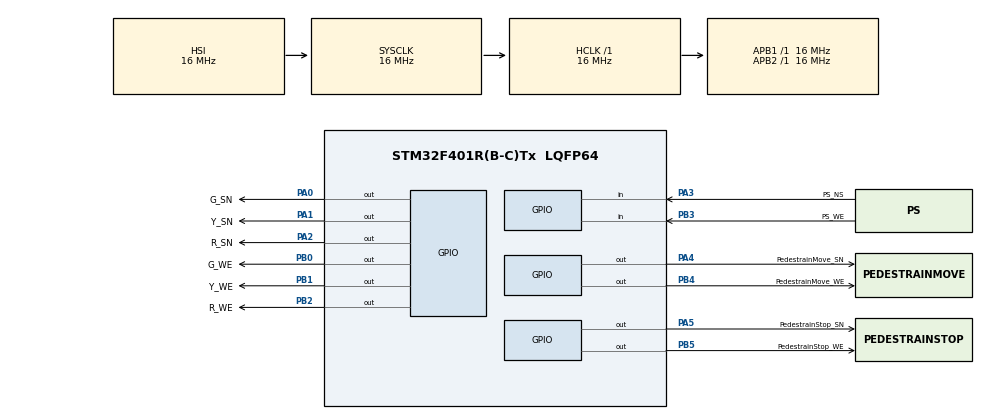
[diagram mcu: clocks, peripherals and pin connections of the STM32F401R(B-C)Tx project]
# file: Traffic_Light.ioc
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FREERTOS.BinarySemaphores01=PedestrainStatet,Dynamic,NULL,Available
FREERTOS.Queues01=SN_STATE,16,uint16_t,0,Dynamic,NULL,NULL;WE_STATE,16,uint16_t,0,Dynamic,NULL,NULL
FREERTOS.Tasks01=Traffic_control,24,128,Traffic_Light_Control,Default,NULL,Dynamic,NULL,NULL;SN_Crossing,40,128,SN_Crossing_Task,Default,NULL,Dynamic,NULL,NULL;interrupt,41,128,Button_Interrupt,Default,NULL,Dynamic,NULL,NULL;WE_Crossing,40,128,WE_Crossing_Task,Default,NULL,Dynamic,NULL,NULL
FREERTOS.configUSE_CO_ROUTINES=1
FREERTOS.configUSE_IDLE_HOOK=0
FREERTOS.configUSE_NEWLIB_REENTRANT=1
FREERTOS.configUSE_PREEMPTION=1
Mcu.Family=STM32F4
Mcu.Name=STM32F401R(B-C)Tx
Mcu.Package=LQFP64
NVIC.PriorityGroup=NVIC_PRIORITYGROUP_4
NVIC.TIM1_UP_TIM10_IRQn=true\:15\:0\:false\:false\:true\:false\:false\:true\:true
NVIC.TimeBase=TIM1_UP_TIM10_IRQn
NVIC.TimeBaseIP=TIM1
PA0-WKUP.GPIO_Label=G_SN
PA0-WKUP.GPIO_PuPd=GPIO_NOPULL
PA0-WKUP.Signal=GPIO_Output
PA1.GPIO_Label=Y_SN
PA1.GPIO_PuPd=GPIO_NOPULL
PA1.Signal=GPIO_Output
PA2.GPIO_Label=R_SN
PA2.GPIO_PuPd=GPIO_NOPULL
PA2.Signal=GPIO_Output
PA3.GPIO_Label=PS_NS
PA3.GPIO_PuPd=GPIO_PULLUP
PA3.Signal=GPIO_Input
PA4.GPIO_Label=PedestrainMove_SN
PA4.Signal=GPIO_Output
PA5.GPIO_Label=PedestrainStop_SN
PA5.Signal=GPIO_Output
PB0.GPIO_Label=G_WE
PB0.Signal=GPIO_Output
PB1.GPIO_Label=Y_WE
PB1.GPIO_PuPd=GPIO_NOPULL
PB1.Signal=GPIO_Output
PB2.GPIO_Label=R_WE
PB2.GPIO_PuPd=GPIO_NOPULL
PB2.Signal=GPIO_Output
PB3.GPIO_Label=PS_WE
PB3.GPIO_PuPd=GPIO_PULLUP
PB3.Signal=GPIO_Input
PB4.GPIO_Label=PedestrainMove_WE
PB4.Signal=GPIO_Output
PB5.GPIO_Label=PedestrainStop_WE
PB5.Signal=GPIO_Output
PH0\ -\ OSC_IN.Mode=HSE-External-Oscillator
PH0\ -\ OSC_IN.Signal=RCC_OSC_IN
PH1\ -\ OSC_OUT.Mode=HSE-External-Oscillator
PH1\ -\ OSC_OUT.Signal=RCC_OSC_OUT
ProjectManager.HeapSize=0x200
ProjectManager.StackSize=0x400
ProjectManager.TargetToolchain=STM32CubeIDE
RCC.AHBFreq_Value=16000000
RCC.APB1Freq_Value=16000000
RCC.APB2Freq_Value=16000000
RCC.CortexFreq_Value=16000000
RCC.HSE_VALUE=25000000
RCC.HSI_VALUE=16000000
RCC.LSE_VALUE=32768
RCC.SYSCLKFreq_VALUE=16000000
RCC.VCOOutputFreq_Value=192000000
VP_FREERTOS_VS_CMSIS_V2.Mode=CMSIS_V2
VP_SYS_VS_tim1.Mode=TIM1
board=custom

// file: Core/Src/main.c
/* USER CODE BEGIN Header */
/**
  ******************************************************************************
  * @file           : main.c
  * @brief          : Main program body
  ******************************************************************************
  * @attention
  *
  * Copyright (c) 2025 STMicroelectronics.
  * All rights reserved.
  *
  * This software is licensed under terms that can be found in the LICENSE file
  * in the root directory of this software component.
  * If no LICENSE file comes with this software, it is provided AS-IS.
  *
  ******************************************************************************
  */
/* USER CODE END Header */
#include "main.h"
#include "cmsis_os.h"

/* Definitions for Traffic_control */
osThreadId_t Traffic_controlHandle;
const osThreadAttr_t Traffic_control_attributes = {
  .name = "Traffic_control",
  .stack_size = 128 * 4,
  .priority = (osPriority_t) osPriorityNormal,
};
/* Definitions for SN_Crossing */
osThreadId_t SN_CrossingHandle;
const osThreadAttr_t SN_Crossing_attributes = {
  .name = "SN_Crossing",
  .stack_size = 128 * 4,
  .priority = (osPriority_t) osPriorityHigh,
};
/* Definitions for interrupt */
osThreadId_t interruptHandle;
const osThreadAttr_t interrupt_attributes = {
  .name = "interrupt",
  .stack_size = 128 * 4,
  .priority = (osPriority_t) osPriorityHigh1,
};
/* Definitions for WE_Crossing */
osThreadId_t WE_CrossingHandle;
const osThreadAttr_t WE_Crossing_attributes = {
  .name = "WE_Crossing",
  .stack_size = 128 * 4,
  .priority = (osPriority_t) osPriorityHigh,
};
/* Definitions for SN_STATE */
osMessageQueueId_t SN_STATEHandle;
const osMessageQueueAttr_t SN_STATE_attributes = {
  .name = "SN_STATE"
};
/* Definitions for WE_STATE */
osMessageQueueId_t WE_STATEHandle;
const osMessageQueueAttr_t WE_STATE_attributes = {
  .name = "WE_STATE"
};
/* Definitions for PedestrainStatet */
osSemaphoreId_t PedestrainStatetHandle;
const osSemaphoreAttr_t PedestrainStatet_attributes = {
  .name = "PedestrainStatet"
};

void SystemClock_Config(void);
static void MX_GPIO_Init(void);
void Traffic_Light_Control(void *argument);
void SN_Crossing_Task(void *argument);
void Button_Interrupt(void *argument);
void WE_Crossing_Task(void *argument);

int main(void)
{

  /* MCU Configuration--------------------------------------------------------*/

  /* Reset of all peripherals, Initializes the Flash interface and the Systick. */
  HAL_Init();

  /* Configure the system clock */
  SystemClock_Config();

  /* Initialize all configured peripherals */
  MX_GPIO_Init();

  /* Init scheduler */
  osKernelInitialize();

  /* Create the semaphores(s) */
  /* creation of PedestrainStatet */
  PedestrainStatetHandle = osSemaphoreNew(1, 1, &PedestrainStatet_attributes);

  /* Create the queue(s) */
  /* creation of SN_STATE */
  SN_STATEHandle = osMessageQueueNew (16, sizeof(uint16_t), &SN_STATE_attributes);

  /* creation of WE_STATE */
  WE_STATEHandle = osMessageQueueNew (16, sizeof(uint16_t), &WE_STATE_attributes);

  /* Create the thread(s) */
  /* creation of Traffic_control */
  Traffic_controlHandle = osThreadNew(Traffic_Light_Control, NULL, &Traffic_control_attributes);

  /* creation of SN_Crossing */
  SN_CrossingHandle = osThreadNew(SN_Crossing_Task, NULL, &SN_Crossing_attributes);

  /* creation of interrupt */
  interruptHandle = osThreadNew(Button_Interrupt, NULL, &interrupt_attributes);

  /* creation of WE_Crossing */
  WE_CrossingHandle = osThreadNew(WE_Crossing_Task, NULL, &WE_Crossing_attributes);

  /* Start scheduler */
  osKernelStart();

  /* We should never get here as control is now taken by the scheduler */

  /* Infinite loop */
  while (1)
  {

  }
}

void SystemClock_Config(void)
{
  RCC_OscInitTypeDef RCC_OscInitStruct = {0};
  RCC_ClkInitTypeDef RCC_ClkInitStruct = {0};

  /** Configure the main internal regulator output voltage
  */
  __HAL_RCC_PWR_CLK_ENABLE();
  __HAL_PWR_VOLTAGESCALING_CONFIG(PWR_REGULATOR_VOLTAGE_SCALE2);

  /** Initializes the RCC Oscillators according to the specified parameters
  * in the RCC_OscInitTypeDef structure.
  */
  RCC_OscInitStruct.OscillatorType = RCC_OSCILLATORTYPE_HSI;
  RCC_OscInitStruct.HSIState = RCC_HSI_ON;
  RCC_OscInitStruct.HSICalibrationValue = RCC_HSICALIBRATION_DEFAULT;
  RCC_OscInitStruct.PLL.PLLState = RCC_PLL_NONE;
  if (HAL_RCC_OscConfig(&RCC_OscInitStruct) != HAL_OK)
  {
    Error_Handler();
  }

  /** Initializes the CPU, AHB and APB buses clocks
  */
  RCC_ClkInitStruct.ClockType = RCC_CLOCKTYPE_HCLK|RCC_CLOCKTYPE_SYSCLK
                              |RCC_CLOCKTYPE_PCLK1|RCC_CLOCKTYPE_PCLK2;
  RCC_ClkInitStruct.SYSCLKSource = RCC_SYSCLKSOURCE_HSI;
  RCC_ClkInitStruct.AHBCLKDivider = RCC_SYSCLK_DIV1;
  RCC_ClkInitStruct.APB1CLKDivider = RCC_HCLK_DIV1;
  RCC_ClkInitStruct.APB2CLKDivider = RCC_HCLK_DIV1;

  if (HAL_RCC_ClockConfig(&RCC_ClkInitStruct, FLASH_LATENCY_0) != HAL_OK)
  {
    Error_Handler();
  }
}

static void MX_GPIO_Init(void)
{
  GPIO_InitTypeDef GPIO_InitStruct = {0};

  /* GPIO Ports Clock Enable */
  __HAL_RCC_GPIOH_CLK_ENABLE();
  __HAL_RCC_GPIOA_CLK_ENABLE();
  __HAL_RCC_GPIOB_CLK_ENABLE();

  /*Configure GPIO pin Output Level */
  HAL_GPIO_WritePin(GPIOA, G_SN_Pin|Y_SN_Pin|R_SN_Pin|PedestrainMove_SN_Pin
                          |PedestrainStop_SN_Pin, GPIO_PIN_RESET);

  /*Configure GPIO pin Output Level */
  HAL_GPIO_WritePin(GPIOB, G_WE_Pin|Y_WE_Pin|R_WE_Pin|PedestrainMove_WE_Pin
                          |PedestrainStop_WE_Pin, GPIO_PIN_RESET);

  /*Configure GPIO pins : G_SN_Pin Y_SN_Pin R_SN_Pin PedestrainMove_SN_Pin
                           PedestrainStop_SN_Pin */
  GPIO_InitStruct.Pin = G_SN_Pin|Y_SN_Pin|R_SN_Pin|PedestrainMove_SN_Pin
                          |PedestrainStop_SN_Pin;
  GPIO_InitStruct.Mode = GPIO_MODE_OUTPUT_PP;
  GPIO_InitStruct.Pull = GPIO_NOPULL;
  GPIO_InitStruct.Speed = GPIO_SPEED_FREQ_LOW;
  HAL_GPIO_Init(GPIOA, &GPIO_InitStruct);

  /*Configure GPIO pin : PS_NS_Pin */
  GPIO_InitStruct.Pin = PS_NS_Pin;
  GPIO_InitStruct.Mode = GPIO_MODE_INPUT;
  GPIO_InitStruct.Pull = GPIO_PULLUP;
  HAL_GPIO_Init(PS_NS_GPIO_Port, &GPIO_InitStruct);

  /*Configure GPIO pins : G_WE_Pin Y_WE_Pin R_WE_Pin PedestrainMove_WE_Pin
                           PedestrainStop_WE_Pin */
  GPIO_InitStruct.Pin = G_WE_Pin|Y_WE_Pin|R_WE_Pin|PedestrainMove_WE_Pin
                          |PedestrainStop_WE_Pin;
  GPIO_InitStruct.Mode = GPIO_MODE_OUTPUT_PP;
  GPIO_InitStruct.Pull = GPIO_NOPULL;
  GPIO_InitStruct.Speed = GPIO_SPEED_FREQ_LOW;
  HAL_GPIO_Init(GPIOB, &GPIO_InitStruct);

  /*Configure GPIO pin : PS_WE_Pin */
  GPIO_InitStruct.Pin = PS_WE_Pin;
  GPIO_InitStruct.Mode = GPIO_MODE_INPUT;
  GPIO_InitStruct.Pull = GPIO_PULLUP;
  HAL_GPIO_Init(PS_WE_GPIO_Port, &GPIO_InitStruct);

}

void Traffic_Light_Control(void *argument)
{
  /* USER CODE BEGIN 5 */
  /* Infinite loop */
  for(;;)
  {
	  if (osSemaphoreAcquire(PedestrainStatetHandle, osWaitForever) == osOK)
	     {
	       /* North-South Green, West-East Red */
	       HAL_GPIO_WritePin(PedestrainStop_SN_GPIO_Port, PedestrainStop_SN_Pin, GPIO_PIN_SET);
	 	   HAL_GPIO_WritePin(PedestrainStop_WE_GPIO_Port, PedestrainStop_SN_Pin, GPIO_PIN_SET);

	       HAL_GPIO_WritePin(GPIOA, G_SN_Pin, GPIO_PIN_SET);
	       HAL_GPIO_WritePin(GPIOA, Y_SN_Pin, GPIO_PIN_RESET);
	       HAL_GPIO_WritePin(GPIOA, R_SN_Pin, GPIO_PIN_RESET);
	       HAL_GPIO_WritePin(GPIOB, R_WE_Pin, GPIO_PIN_SET);
	       HAL_GPIO_WritePin(GPIOB, G_WE_Pin, GPIO_PIN_RESET);
	       HAL_GPIO_WritePin(GPIOB, Y_WE_Pin, GPIO_PIN_RESET);
	       osDelay(GREEN_LED_ON);

	       /* North-South Yellow, West-East Red */
	       HAL_GPIO_WritePin(GPIOA, G_SN_Pin, GPIO_PIN_RESET);
	       HAL_GPIO_WritePin(GPIOA, Y_SN_Pin, GPIO_PIN_SET);
	       HAL_GPIO_WritePin(GPIOA, R_SN_Pin, GPIO_PIN_RESET);
	       osDelay(YELLOW_LED_ON);

	       /* North-South Red, West-East Green */
	       HAL_GPIO_WritePin(GPIOA, R_SN_Pin, GPIO_PIN_SET);
	       HAL_GPIO_WritePin(GPIOA, G_SN_Pin, GPIO_PIN_RESET);
	       HAL_GPIO_WritePin(GPIOA, Y_SN_Pin, GPIO_PIN_RESET);
	       HAL_GPIO_WritePin(GPIOB, G_WE_Pin, GPIO_PIN_SET);
	       HAL_GPIO_WritePin(GPIOB, Y_WE_Pin, GPIO_PIN_RESET);
	       HAL_GPIO_WritePin(GPIOB, R_WE_Pin, GPIO_PIN_RESET);
	       osDelay(GREEN_LED_ON);

	       /* North-South Red, West-East Yellow */
	       HAL_GPIO_WritePin(GPIOB, G_WE_Pin, GPIO_PIN_RESET);
	       HAL_GPIO_WritePin(GPIOB, Y_WE_Pin, GPIO_PIN_SET);
	       HAL_GPIO_WritePin(GPIOB, R_WE_Pin, GPIO_PIN_RESET);
	       osDelay(YELLOW_LED_ON);

	       osSemaphoreRelease(PedestrainStatetHandle);
	     }
  }
  /* USER CODE END 5 */
}

void SN_Crossing_Task(void *argument)
{
  /* USER CODE BEGIN SN_Crossing_Task */
  /* Infinite loop */
	uint16_t msg=0;
  for(;;)
  {
	  if(osMessageQueueGet(SN_STATEHandle, &msg, 0,osWaitForever)==osOK)
	  {
		  if (msg == S_N)
			  {
				/* North-South pedestrian crossing */
				osThreadSuspend(Traffic_controlHandle);

				HAL_GPIO_WritePin(GPIOA, R_SN_Pin, GPIO_PIN_SET);
				HAL_GPIO_WritePin(GPIOA, G_SN_Pin, GPIO_PIN_RESET);
				HAL_GPIO_WritePin(GPIOA, Y_SN_Pin, GPIO_PIN_RESET);

				//Active move led for pedestrain for 5 second then start flashing
				HAL_GPIO_WritePin(PedestrainStop_SN_GPIO_Port, PedestrainStop_SN_Pin, GPIO_PIN_RESET);
				HAL_GPIO_WritePin(PedestrainMove_SN_GPIO_Port, PedestrainMove_SN_Pin, GPIO_PIN_SET);
				osDelay(PedestrainMove_LED_ON);
				HAL_GPIO_WritePin(PedestrainMove_SN_GPIO_Port, PedestrainMove_SN_Pin, GPIO_PIN_RESET);
				osDelay(PedestrainMove_LED_Flashing);
				HAL_GPIO_WritePin(PedestrainMove_SN_GPIO_Port, PedestrainMove_SN_Pin, GPIO_PIN_SET);
				osDelay(PedestrainMove_LED_Flashing);
				HAL_GPIO_WritePin(PedestrainMove_SN_GPIO_Port, PedestrainMove_SN_Pin, GPIO_PIN_RESET);
				osDelay(PedestrainMove_LED_Flashing);
				HAL_GPIO_WritePin(PedestrainMove_SN_GPIO_Port, PedestrainMove_SN_Pin, GPIO_PIN_SET);
				osDelay(PedestrainMove_LED_Flashing);
				HAL_GPIO_WritePin(PedestrainMove_SN_GPIO_Port, PedestrainMove_SN_Pin, GPIO_PIN_RESET);
				osDelay(PedestrainMove_LED_Flashing);

				//return state of pedestrain Leds to original state
				HAL_GPIO_WritePin(PedestrainMove_SN_GPIO_Port, PedestrainMove_SN_Pin, GPIO_PIN_RESET);
				HAL_GPIO_WritePin(PedestrainStop_SN_GPIO_Port, PedestrainStop_SN_Pin, GPIO_PIN_SET);
				osThreadResume(Traffic_controlHandle);
			  }
	  }

	  osDelay(100);
  }
  /* USER CODE END SN_Crossing_Task */
}

void Button_Interrupt(void *argument)
{
	uint32_t last_tick = osKernelGetTickCount();
	    const uint32_t debounce_time = Debounce_Delay; // Debounce time in milliseconds
	    uint16_t msg = 0;
	    for (;;)
	    {
	        // Check North-South button
	        if (HAL_GPIO_ReadPin(PS_NS_GPIO_Port, PS_NS_Pin) == GPIO_PIN_RESET)
	        {
	            // Debounce check
	        	osDelay(debounce_time);
	            if ((osKernelGetTickCount() - last_tick) >= debounce_time)
	            {
	                printf("North-South button pressed!\n");

	                // Create and send a message for North-South pedestrian crossing
	                msg = S_N;
	                osMessageQueuePut(SN_STATEHandle, &msg, 0, osWaitForever);
	                last_tick = osKernelGetTickCount(); // Update last tick for debouncing
	            }
	        }
	        // Check West-East button
	        if (HAL_GPIO_ReadPin(PS_WE_GPIO_Port, PS_WE_Pin) == GPIO_PIN_RESET)
	        {
	            // Debounce check
	        	osDelay(debounce_time);
	            if ((osKernelGetTickCount() - last_tick) >= debounce_time)
	            {
	                printf("West-East button pressed!\n");

	                // Create and send a message for West-East pedestrian crossing
	                msg =W_E;
	                osMessageQueuePut(SN_STATEHandle, &msg, 0, osWaitForever);

	                last_tick = osKernelGetTickCount(); // Update last tick for debouncing
	            }
	        }

	        // Delay to reduce CPU usage
	        osDelay(10);
	    }
}

void WE_Crossing_Task(void *argument)
{
  /* USER CODE BEGIN WE_Crossing_Task */
  /* Infinite loop */
	uint16_t msg=0;
  for(;;)
  {
	  if(osMessageQueueGet(SN_STATEHandle, &msg, 0,osWaitForever)==osOK)
	  {
		  if (msg == W_E)
		  	  {
		  		/* North-South pedestrian crossing */
		  		osThreadSuspend(Traffic_controlHandle);

		  		HAL_GPIO_WritePin(GPIOB, R_WE_Pin, GPIO_PIN_SET);
		  		HAL_GPIO_WritePin(GPIOB, G_WE_Pin, GPIO_PIN_RESET);
		  		HAL_GPIO_WritePin(GPIOB, Y_WE_Pin, GPIO_PIN_RESET);

				//Active move led for pedestrain for 5 second then start flashing
		  		HAL_GPIO_WritePin(PedestrainStop_WE_GPIO_Port, PedestrainStop_WE_Pin, GPIO_PIN_RESET);
		  		HAL_GPIO_WritePin(PedestrainMove_WE_GPIO_Port, PedestrainMove_WE_Pin, GPIO_PIN_SET);
		  		osDelay(5000);

		  		HAL_GPIO_WritePin(PedestrainMove_WE_GPIO_Port, PedestrainMove_WE_Pin, GPIO_PIN_RESET);
		  		osDelay(1000);
		  		HAL_GPIO_WritePin(PedestrainMove_WE_GPIO_Port, PedestrainMove_WE_Pin, GPIO_PIN_SET);
		  		osDelay(1000);
		  		HAL_GPIO_WritePin(PedestrainMove_WE_GPIO_Port, PedestrainMove_WE_Pin, GPIO_PIN_RESET);
		  		osDelay(1000);
		  		HAL_GPIO_WritePin(PedestrainMove_WE_GPIO_Port, PedestrainMove_WE_Pin, GPIO_PIN_SET);
		  		osDelay(1000);
		  		HAL_GPIO_WritePin(PedestrainMove_WE_GPIO_Port, PedestrainMove_WE_Pin, GPIO_PIN_RESET);
		  		osDelay(1000);
		  		//return state of pedestrain Leds to original state
		  		HAL_GPIO_WritePin(PedestrainMove_WE_GPIO_Port, PedestrainMove_WE_Pin, GPIO_PIN_RESET);
		  		HAL_GPIO_WritePin(PedestrainStop_WE_GPIO_Port, PedestrainStop_WE_Pin, GPIO_PIN_SET);
		  		osThreadResume(Traffic_controlHandle);
		  	  }
	  }

	  osDelay(100);
  }
  /* USER CODE END WE_Crossing_Task */
}

void HAL_TIM_PeriodElapsedCallback(TIM_HandleTypeDef *htim)
{
  if (htim->Instance == TIM1) {
    HAL_IncTick();
  }
}

void Error_Handler(void)
{
  __disable_irq();
  while (1)
  {
  }
}
